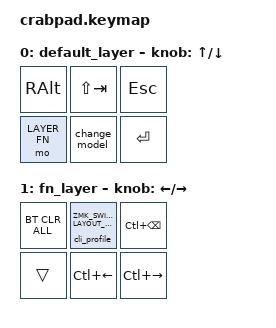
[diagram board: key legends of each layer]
#include <behaviors.dtsi>
#include <dt-bindings/zmk/keys.h>
#include <dt-bindings/zmk/bt.h>
#include <dt-bindings/zmk-switch-layout/switch-layout.h>

#define LAYER_FN 1

/ {
    behaviors {
        cli_profile: cli_profile {
            compatible = "zmk-switch-layout,behavior-switch-layout-mode";
            #binding-cells = <1>;
            // Profile indices are persisted: 0 = Codex, 1 = Claude.
            layout-count = <2>;
            default-layout = <0>;
        };

        change_model: change_model {
            compatible = "zmk-switch-layout,behavior-switch-layout-key";
            #binding-cells = <0>;
            bindings = <&codex_change_model>, <&kp LA(P)>;
        };
    };

    macros {
        codex_change_model: codex_change_model {
            compatible = "zmk,behavior-macro";
            #binding-cells = <0>;
            wait-ms = <30>;
            tap-ms = <30>;
            bindings = <&kp SLASH &kp M &kp O &kp D &kp E &kp L>;
        };
    };

    keymap {
        compatible = "zmk,keymap";

        default_layer {
            bindings = <
                &kp RALT         &kp LS(TAB)            &kp ESC
                &mo LAYER_FN     &change_model          &kp ENTER
            >;

            sensor-bindings = <&inc_dec_kp UP_ARROW DOWN_ARROW>;
        };

        fn_layer {
            bindings = <
                &bt BT_CLR_ALL   &cli_profile ZMK_SWITCH_LAYOUT_NEXT   &kp LC(BACKSPACE)
                &trans           &kp LC(LEFT)   &kp LC(RIGHT)
            >;

            sensor-bindings = <&inc_dec_kp LEFT RIGHT>;
        };
    };
};
